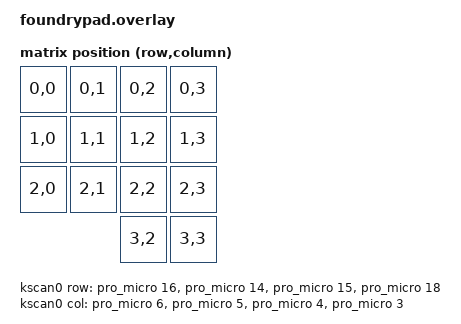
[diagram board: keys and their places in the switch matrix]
#include <dt-bindings/zmk/matrix_transform.h> 


/ {
    chosen {
        zmk,kscan = &kscan0;
        zmk,physical-layout = &physical_layout0;
    };

    kscan0: kscan0 {
        compatible = "zmk,kscan-gpio-matrix";
        diode-direction = "row2col";
        wakeup-source;

        col-gpios
            = <&pro_micro 6 (GPIO_ACTIVE_HIGH | GPIO_PULL_DOWN)>
            , <&pro_micro 5 (GPIO_ACTIVE_HIGH | GPIO_PULL_DOWN)>
            , <&pro_micro 4 (GPIO_ACTIVE_HIGH | GPIO_PULL_DOWN)>
            , <&pro_micro 3 (GPIO_ACTIVE_HIGH | GPIO_PULL_DOWN)>
            ;

        row-gpios
            = <&pro_micro 16 GPIO_ACTIVE_HIGH>
            , <&pro_micro 14 GPIO_ACTIVE_HIGH>
            , <&pro_micro 15 GPIO_ACTIVE_HIGH>
            , <&pro_micro 18 GPIO_ACTIVE_HIGH>
            ;
    };

    default_transform: keymap_transform0 {
        compatible = "zmk,matrix-transform";
        columns = <4>; // Length of the "col-gpios" array
        rows = <3>; // Length of the "row-gpios" array
        map = <
        //   Key 1 | Key 2 | Key 3 
            RC(0,0) RC(0,1) RC(0,2) RC(0,3)
        //   Key 4 | Key 5 | Key 6
            RC(1,0) RC(1,1) RC(1,2) RC(1,3)
        //   Key 7 | Key 8 | Key 9
            RC(2,0) RC(2,1) RC(2,2) RC(2,3)
                            RC(3,2) RC(3,3)
        >;
    };

    physical_layout0: physical_layout_0 { // First physical layout, use different naming for other layouts
        compatible = "zmk,physical-layout";
        display-name = "Default Layout";
        kscan = <&kscan0>; // Label of the kscan node, optional if all layouts use the same
        transform = <&default_transform>; // Label of the matrix transform for this layout
    };
};

